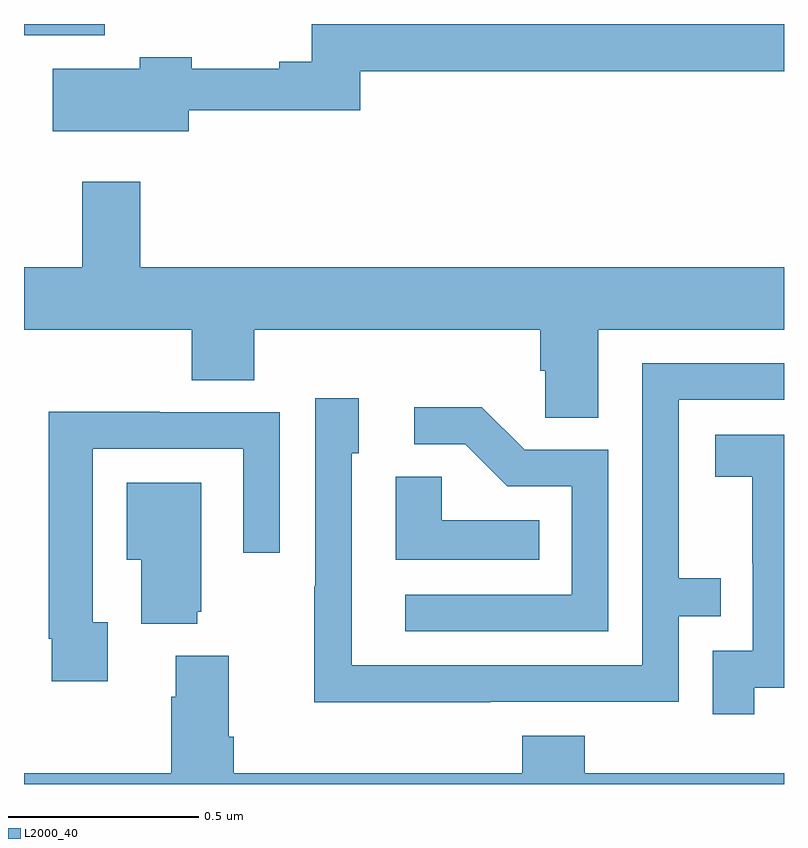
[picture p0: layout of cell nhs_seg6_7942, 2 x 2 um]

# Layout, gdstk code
import gdstk
lib = gdstk.Library(unit=1e-6, precision=1e-09)
def R(c, l, rs):  # rectangles x0, y0, x1, y1
    for r in rs: c.add(gdstk.rectangle(r[:2], r[2:], *l))
def P(c, l, *ps):  # polygons
    for p in ps: c.add(gdstk.Polygon(p, *l))
L2000_40 = (2000, 40)

nhs_seg6_7942 = lib.new_cell('nhs_seg6_7942')
R(nhs_seg6_7942, L2000_40, [(215,921.47,215.212,921.5)])
P(nhs_seg6_7942, L2000_40, [(215.434,921.273),(215.885,921.273),(215.885,921.376),(217,921.376),(217,921.5),(215.757,921.5),(215.757,921.401),(215.672,921.401),(215.672,921.382),(215.442,921.382),(215.442,921.412),(215.305,921.412),(215.305,921.382),(215.075,921.382),(215.075,921.218),(215.434,921.218)],
  [(216.511,920.696),(217,920.696),(217,920.86),(215.306,920.86),(215.306,921.085),(215.153,921.085),(215.153,920.86),(215,920.86),(215,920.696),(215.441,920.696),(215.441,920.563),(215.606,920.563),(215.606,920.696),(216.359,920.696),(216.359,920.587),(216.372,920.587),(216.372,920.464),(216.511,920.464)],
  [(216.227,919.716),(216.723,919.716),(216.723,919.941),(216.833,919.941),(216.833,920.042),(216.723,920.042),(216.723,920.511),(217,920.511),(217,920.607),(216.627,920.607),(216.627,919.812),(215.862,919.812),(215.862,920.37),(215.881,920.37),(215.881,920.515),(215.766,920.515),(215.766,920.021),(215.764,920.021),(215.764,919.715),(216.227,919.715)],
  [(216.537,920.379),(216.318,920.379),(216.205,920.492),(216.027,920.492),(216.027,920.394),(216.161,920.394),(216.272,920.283),(216.441,920.283),(216.441,919.998),(216.003,919.998),(216.003,919.902),(216.537,919.902)],
  [(215.221,919.926),(215.181,919.926),(215.181,920.382),(215.577,920.382),(215.577,920.109),(215.673,920.109),(215.673,920.478),(215.357,920.478),(215.357,920.48),(215.065,920.48),(215.065,919.882),(215.073,919.882),(215.073,919.77),(215.221,919.77)],
  [(216.922,919.753),(217,919.753),(217,920.419),(216.819,920.419),(216.819,920.309),(216.917,920.309),(216.917,920.081),(216.918,920.081),(216.918,919.851),(216.813,919.851),(216.813,919.683),(216.922,919.683)],
  [(216.356,920.194),(216.099,920.194),(216.099,920.309),(215.978,920.309),(215.978,920.09),(216.356,920.09)],
  [(215.456,919.953),(215.467,919.953),(215.467,920.293),(215.27,920.293),(215.27,920.09),(215.309,920.09),(215.309,919.922),(215.456,919.922)],
  [(217,919.528),(216.476,919.528),(216.476,919.627),(216.311,919.627),(216.311,919.528),(215.552,919.528),(215.552,919.624),(215.539,919.624),(215.539,919.837),(215.399,919.837),(215.399,919.73),(215.387,919.73),(215.387,919.528),(215,919.528),(215,919.5),(217,919.5)])

lib.write_gds('nhs_seg6_7942.gds')
